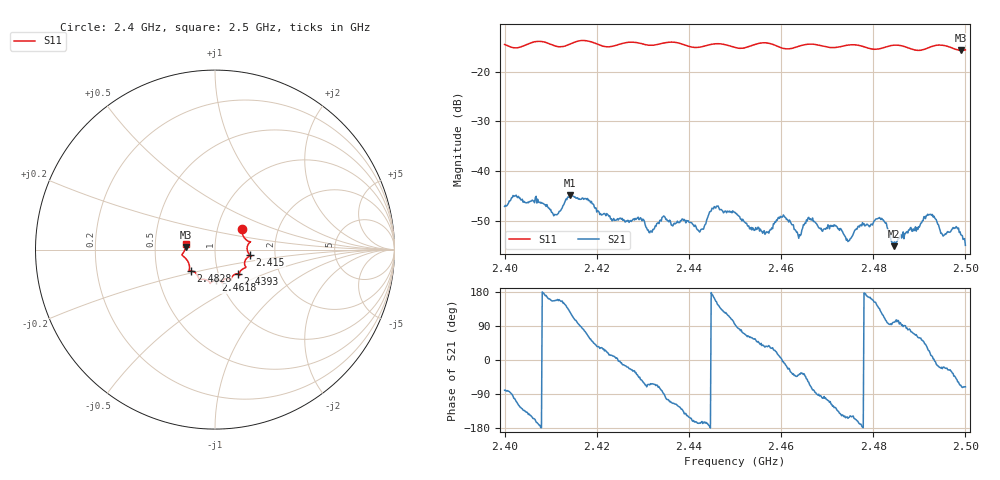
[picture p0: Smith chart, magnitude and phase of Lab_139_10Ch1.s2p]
# Hz S RI R 50
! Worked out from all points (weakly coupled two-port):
!   601 points, 2.4 GHz to 2.5 GHz, reference 50 ohm
!   highest |S21| = -44.83 dB at 2.4142 GHz (marker M1); lowest = -55.2 dB at 2.4845 GHz (marker M2)
!   lowest |S11| = -15.7 dB at 2.499 GHz (marker M3), VSWR 1.39, Z = 35.9 + j1.12 ohm
!   |S11| at or under -10 dB: start of sweep to end of sweep
!   S12 and S22 are empty: the file has one direction only
!   S11 on the Smith chart (normalised r, x): 2.4 GHz: 1.31, +0.31; 2.415 GHz: 1.48, -0.10; 2.4393 GHz: 1.23, -0.35; 2.4618 GHz: 0.95, -0.33; 2.4828 GHz: 0.74, -0.18; 2.5 GHz: 0.72, +0.05
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2.4e9  0.1505 0.114  0.000777 -0.00433  0 0  0 0
2.4025e9  0.1579 0.074  -0.00188 -0.0054  0 0  0 0
2.411167e9  0.1802 0.0178  -0.00334 0.00141  0 0  0 0
2.414167e9  0.1887 -0.0244  -0.00346 0.00458  0 0  0 0
2.415e9  0.1946 -0.0319  -0.00193 0.00521  0 0  0 0
2.416667e9  0.2034 -0.0379  0.000245 0.0052  0 0  0 0
2.433333e9  0.1368 -0.1314  0.000934 -0.00286  0 0  0 0
2.439333e9  0.1255 -0.1355  -0.00234 -0.00188  0 0  0 0
2.442667e9  0.0953 -0.1509  -0.00249 -0.000704  0 0  0 0
2.4455e9  0.0889 -0.1694  -0.00421 0.00124  0 0  0 0
2.45e9  0.0692 -0.1619  -0.00026 0.00383  0 0  0 0
2.4565e9  0.0436 -0.1915  0.00191 0.00129  0 0  0 0
2.461833e9  0.00398 -0.1709  0.00292 -0.00133  0 0  0 0
2.463833e9  -0.019 -0.1801  0.00162 -0.00133  0 0  0 0
2.466667e9  -0.0261 -0.1886  0.000822 -0.0031  0 0  0 0
2.474667e9  -0.0835 -0.1667  -0.00174 -0.000928  0 0  0 0
2.482833e9  -0.1344 -0.1179  -0.00069 0.00291  0 0  0 0
2.483333e9  -0.1385 -0.1176  -0.00023 0.00248  0 0  0 0
2.4845e9  -0.144 -0.1172  -0.000296 0.00172  0 0  0 0
2.492e9  -0.1697 -0.0428  0.00326 0.00151  0 0  0 0
2.499e9  -0.1636 0.0151  0.000907 -0.00209  0 0  0 0
2.5e9  -0.1632 0.0332  0.000587 -0.00168  0 0  0 0
